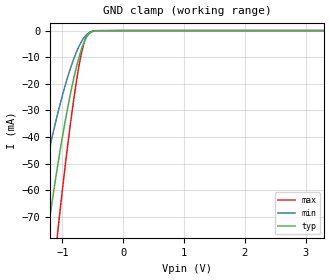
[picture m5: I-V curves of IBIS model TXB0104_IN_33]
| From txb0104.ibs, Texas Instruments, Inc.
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[Model]   TXB0104_IN_33
Model_type  Input
Vinl=1.05
Vinh=2.34
| variable   typ   min   max
C_comp   2.89pF   2.49pF   3.27pF
[Temperature Range]   40   100   -40
| Ambient temperature   25   85   -40
[Voltage range]   3.3   3   3.6
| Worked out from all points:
|   GND clamp passes 1 mA (typ) near -0.55 V on its own axis
[GND Clamp]
| TXB0104_IN_33
|   Voltage   I(typ)   I(min)   I(max)
-5.5V     -1.044A    -792.2mA   -1.306A
-1.49V    -118.9mA   -76.3mA    -173.2mA
-1.245V   -76.3mA    -47.83mA   -113.4mA
-1.085V   -51.71mA   -31.86mA   -77.46mA
-1.065V   -48.85mA   -30.03mA   -73.2mA
-915mV    -29.2mA    -17.6mA    -43.4mA
-825mV    -19.14mA   -11.36mA   -27.72mA
-755mV    -12.42mA   -7.287mA   -16.97mA
-655mV    -4.994mA   -2.979mA   -5.529mA
-610mV    -2.74mA    -1.719mA   -2.559mA
-545mV    -866.8uA   -625uA     -578.6uA
3.3V      208.2pA    781pA      25.79pA
